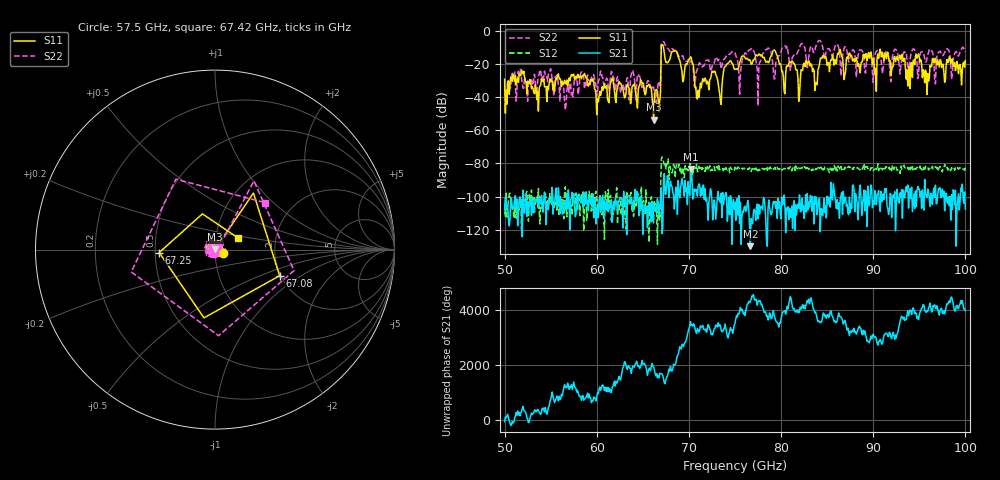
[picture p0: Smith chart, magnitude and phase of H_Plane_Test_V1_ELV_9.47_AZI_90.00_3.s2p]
! 11/27/2026 8:02:43 AM
! C:\ANRITSUVNA\TEMP\TEMP.S2P
! CHANNEL.1
! TR.MEASUREMENT
! RAW.DATA
# HZ S RI R 50.0
! FREQ.HZ  S11RE  S11IM  S21RE  S21IM  S12RE  S12IM  S22RE  S22IM
!; PortSelection: Port_12
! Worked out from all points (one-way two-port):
!   601 points, 50 GHz to 100 GHz, reference 50 ohm
!   highest |S21| = -83.28 dB at 70.25 GHz (marker M1); lowest = -130.0 dB at 76.67 GHz (marker M2)
!   lowest |S11| = -53.6 dB at 66.17 GHz (marker M3), VSWR 1.00, Z = 50.1 + j0.167 ohm
!   |S11| at or under -10 dB: start of sweep to 67 GHz; 67.24 GHz to end of sweep
!   |S22| runs from -47.6 to -5.6 dB; largest |S21 - S12| = 0.00017
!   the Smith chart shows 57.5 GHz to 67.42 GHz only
!   S11 on the Smith chart (normalised r, x): 57.5 GHz: 1.09, -0.04; 67.08 GHz: 1.97, -0.68; 67.25 GHz: 0.53, -0.02; 67.42 GHz: 1.29, +0.17
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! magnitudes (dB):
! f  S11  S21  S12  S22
! 50 GHz  -29.0  -108.2  -104.0  -35.8
! 57.5 GHz  -26.1  -98.2  -103.2  -34.5
! 58.42 GHz  -27.1  -101.0  -103.1  -24.6
! 60.17 GHz  -42.7  -112.8  -109.5  -30.2
! 66.17 GHz  -53.6  -104.3  -115.9  -33.8
! 66.67 GHz  -41.7  -107.0  -103.0  -31.6
! 67.08 GHz  -8.2  -122.4  -76.0  -6.8
! 67.25 GHz  -10.1  -89.8  -79.0  -6.3
! 67.42 GHz  -16.8  -98.5  -79.3  -8.4
! 70.25 GHz  -16.0  -83.3  -86.2  -18.8
! 70.92 GHz  -40.9  -99.7  -85.1  -22.9
! 75 GHz  -23.1  -103.5  -82.3  -13.1
! 75.58 GHz  -17.8  -103.5  -83.7  -26.9
! 76.67 GHz  -18.0  -130.0  -83.1  -11.3
! 77.58 GHz  -13.8  -104.9  -83.6  -22.0
! 78.5 GHz  -18.2  -130.0  -84.1  -10.8
! 79.33 GHz  -11.7  -103.0  -82.4  -28.7
! 83.42 GHz  -24.4  -100.0  -83.3  -10.9
! 91.67 GHz  -16.6  -110.9  -82.7  -15.3
! 94.83 GHz  -14.9  -93.8  -83.2  -28.6
! 95.83 GHz  -38.3  -100.6  -82.7  -16.4
! 100 GHz  -17.8  -107.6  -82.1  -12.6
